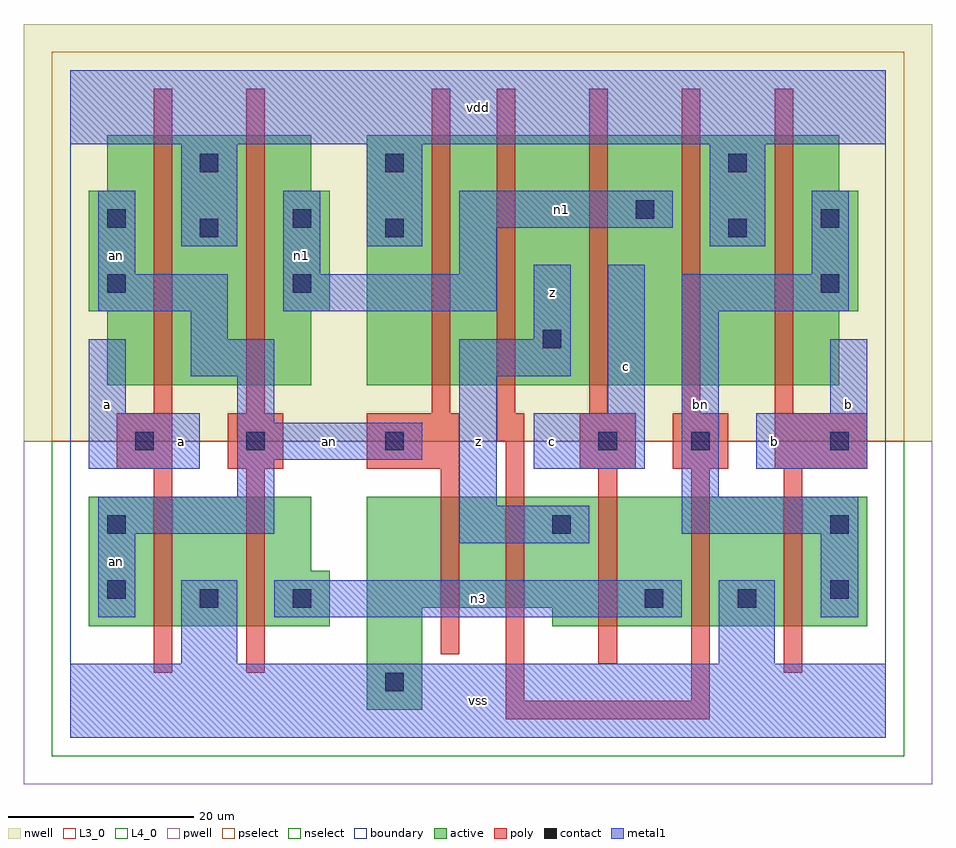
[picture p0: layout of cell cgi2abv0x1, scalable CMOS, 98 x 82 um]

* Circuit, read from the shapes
.subckt cgi2abv0x1 a an b bn c n1 n3 vdd vss z
M1 vss a an VSUBS nfet w=14u l=2u
M2 n3 an vss VSUBS nfet w=14u l=2u
M3 n2 an vss VSUBS nfet w=12u l=2u
M4 z bn n2 VSUBS nfet w=12u l=2u
M5 n3 c z VSUBS nfet w=14u l=2u
M6 vss bn n3 VSUBS nfet w=14u l=2u
M7 bn b vss VSUBS nfet w=14u l=2u
M8 vdd a an n4 pfet w=27u l=2u
M9 n1 an vdd n4 pfet w=27u l=2u
M10 n5 an vdd n4 pfet w=27u l=2u
M11 z bn n5 n4 pfet w=27u l=2u
M12 n1 c z n4 pfet w=27u l=2u
M13 vdd bn n1 n4 pfet w=27u l=2u
M14 bn b vdd n4 pfet w=27u l=2u
.ends

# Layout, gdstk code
import gdstk
lib = gdstk.Library(unit=1e-6, precision=1e-09)
def R(c, l, rs):  # rectangles x0, y0, x1, y1
    for r in rs: c.add(gdstk.rectangle(r[:2], r[2:], *l))
def A(c, l, x, y, w, h, nx, ny, dx, dy):  # array of equal rectangles
    R(c, l, [(x+i*dx, y+j*dy, x+i*dx+w, y+j*dy+h) for i in range(nx) for j in range(ny)])
L3_0 = (3, 0)
L4_0 = (4, 0)
contact = (25, 0)
pwell = (41, 0)
nwell = (42, 0)
active = (43, 0)
pselect = (44, 0)
nselect = (45, 0)
poly = (46, 0)
metal1 = (49, 0)
boundary = (63, 0)

cgi2abv0x1 = lib.new_cell('cgi2abv0x1')
R(cgi2abv0x1, L3_0, [(32,3,38,14), (2,12,28,18), (52,12,86,14), (32,14,86,26), (2,18,26,26)])
R(cgi2abv0x1, L4_0, [(4,38,26,46), (32,38,83,46), (2,46,28,59), (32,46,85,59), (4,59,26,65), (32,59,83,65)])
R(cgi2abv0x1, contact, [(34,5,36,7), (14,14,16,16), (24,14,26,16), (62,14,64,16), (72,14,74,16), (4,15,6,17), (82,15,84,17), (4,22,6,24), (52,22,54,24), (82,22,84,24), (7,31,9,33), (19,31,21,33), (34,31,36,33), (57,31,59,33), (67,31,69,33), (82,31,84,33), (51,42,53,44), (4,48,6,50), (24,48,26,50), (81,48,83,50), (14,54,16,56), (34,54,36,56), (71,54,73,56), (4,55,6,57), (24,55,26,57), (81,55,83,57), (61,56,63,58), (14,61,16,63), (34,61,36,63), (71,61,73,63)])
R(cgi2abv0x1, pwell, [(-5,-5,93,32)])
R(cgi2abv0x1, nwell, [(-5,32,93,77)])
R(cgi2abv0x1, active, [(32,3,38,14), (2,12,28,18), (52,12,86,14), (32,14,86,26), (2,18,26,26), (4,38,26,46), (32,38,83,46), (2,46,28,59), (32,46,85,59), (4,59,26,65), (32,59,83,65)])
R(cgi2abv0x1, pselect, [(-2,32,90,74)])
R(cgi2abv0x1, nselect, [(-2,-2,90,32)])
A(cgi2abv0x1, poly, 46, 35, 2, 35, 4, 1, 10, 0)
R(cgi2abv0x1, poly, [(47,2,69,4), (47,4,49,32), (67,4,69,29), (9,7,11,29), (19,7,21,29), (77,7,79,29), (57,8,59,29), (40,9,42,29), (5,29,11,35), (17,29,23,35), (32,29,42,35), (55,29,61,35), (65,29,71,35), (76,29,86,35), (46,32,49,35), (9,35,11,70), (19,35,21,70), (39,35,41,70)])
R(cgi2abv0x1, metal1, [(0,0,88,8), (12,8,18,17), (70,8,76,17), (3,13,7,22), (22,13,66,17), (81,13,85,22), (42,21,56,25), (3,22,22,26), (66,22,85,26), (42,25,46,39), (18,26,22,30), (66,26,70,46), (2,29,14,35), (50,29,62,35), (74,29,86,35), (18,30,38,34), (18,34,22,39), (2,35,6,43), (58,35,62,51), (82,35,86,43), (13,39,22,43), (42,39,54,43), (13,43,17,46), (50,43,54,51), (3,46,17,50), (23,46,46,50), (66,46,84,50), (3,50,7,59), (23,50,27,59), (42,50,46,55), (80,50,84,59), (12,53,18,64), (32,53,38,64), (69,53,75,64), (42,55,65,59), (0,64,88,72)])
R(cgi2abv0x1, boundary, [(0,0,88,72)])
cgi2abv0x1.add(gdstk.Label('an', (5,19), layer=49, texttype=0))
cgi2abv0x1.add(gdstk.Label('an', (5,52), layer=49, texttype=0))
cgi2abv0x1.add(gdstk.Label('an', (28,32), layer=49, texttype=0))
cgi2abv0x1.add(gdstk.Label('n1', (25,52), layer=49, texttype=0))
cgi2abv0x1.add(gdstk.Label('n3', (44,15), layer=49, texttype=0))
cgi2abv0x1.add(gdstk.Label('bn', (68,36), layer=49, texttype=0))
cgi2abv0x1.add(gdstk.Label('n1', (53,57), layer=49, texttype=0))
cgi2abv0x1.add(gdstk.Label('a', (12,32), layer=49, texttype=0))
cgi2abv0x1.add(gdstk.Label('a', (4,36), layer=49, texttype=0))
cgi2abv0x1.add(gdstk.Label('vss', (44,4), layer=49, texttype=0))
cgi2abv0x1.add(gdstk.Label('z', (44,32), layer=49, texttype=0))
cgi2abv0x1.add(gdstk.Label('c', (52,32), layer=49, texttype=0))
cgi2abv0x1.add(gdstk.Label('c', (60,40), layer=49, texttype=0))
cgi2abv0x1.add(gdstk.Label('z', (52,48), layer=49, texttype=0))
cgi2abv0x1.add(gdstk.Label('vdd', (44,68), layer=49, texttype=0))
cgi2abv0x1.add(gdstk.Label('b', (76,32), layer=49, texttype=0))
cgi2abv0x1.add(gdstk.Label('b', (84,36), layer=49, texttype=0))

lib.write_gds('cgi2abv0x1.gds')
